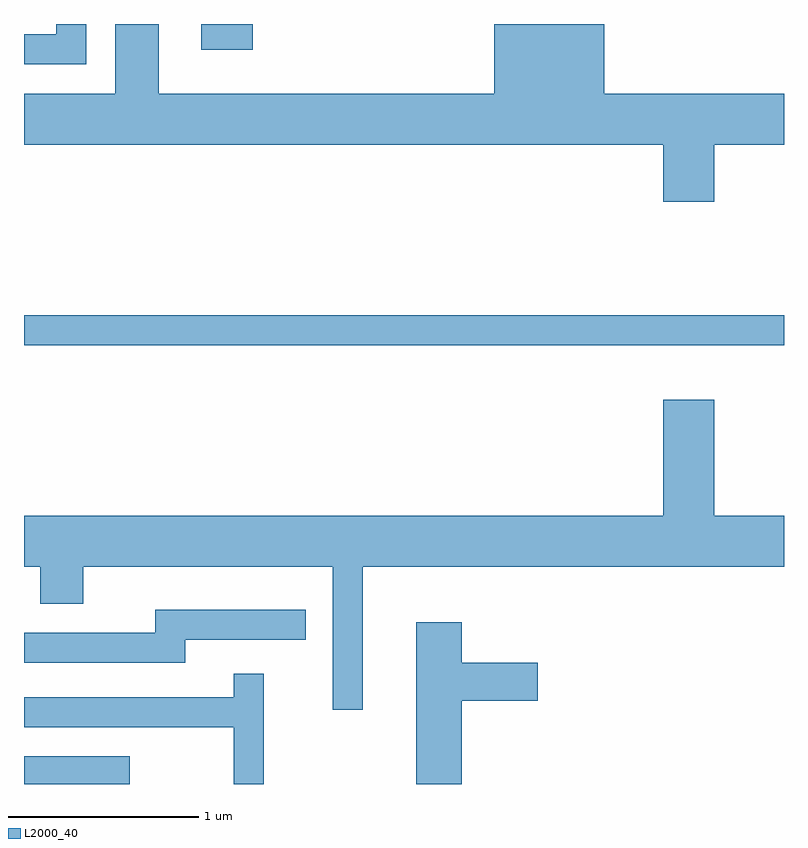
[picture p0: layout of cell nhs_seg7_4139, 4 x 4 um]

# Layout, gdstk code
import gdstk
lib = gdstk.Library(unit=1e-6, precision=1e-09)
def R(c, l, rs):  # rectangles x0, y0, x1, y1
    for r in rs: c.add(gdstk.rectangle(r[:2], r[2:], *l))
def P(c, l, *ps):  # polygons
    for p in ps: c.add(gdstk.Polygon(p, *l))
L2000_40 = (2000, 40)

nhs_seg7_4139 = lib.new_cell('nhs_seg7_4139')
R(nhs_seg7_4139, L2000_40, [(311.611,1744.252,312.168,1744.399), (311.611,1746.561,315.611,1746.719), (312.543,1748.116,312.814,1748.252)])
P(nhs_seg7_4139, L2000_40, [(315.244,1747.616),(315.611,1747.616),(315.611,1747.884),(314.664,1747.884),(314.664,1748.252),(314.086,1748.252),(314.086,1747.884),(312.319,1747.884),(312.319,1748.252),(312.091,1748.252),(312.091,1747.884),(311.611,1747.884),(311.611,1747.616),(314.976,1747.616),(314.976,1747.316),(315.244,1747.316)],
  [(311.939,1748.252),(311.781,1748.252),(311.781,1748.199),(311.611,1748.199),(311.611,1748.041),(311.939,1748.041)],
  [(313.394,1745.396),(315.611,1745.396),(315.611,1745.664),(315.244,1745.664),(315.244,1746.274),(314.976,1746.274),(314.976,1745.664),(311.611,1745.664),(311.611,1745.396),(311.696,1745.396),(311.696,1745.201),(311.924,1745.201),(311.924,1745.396),(313.236,1745.396),(313.236,1744.643),(313.394,1744.643)],
  [(312.459,1745.011),(313.093,1745.011),(313.093,1745.169),(312.301,1745.169),(312.301,1745.049),(311.611,1745.049),(311.611,1744.891),(312.459,1744.891)],
  [(313.914,1744.691),(314.314,1744.691),(314.314,1744.889),(313.914,1744.889),(313.914,1745.104),(313.676,1745.104),(313.676,1744.252),(313.914,1744.252)],
  [(312.874,1744.833),(312.716,1744.833),(312.716,1744.709),(311.611,1744.709),(311.611,1744.551),(312.716,1744.551),(312.716,1744.252),(312.874,1744.252)])

lib.write_gds('nhs_seg7_4139.gds')
